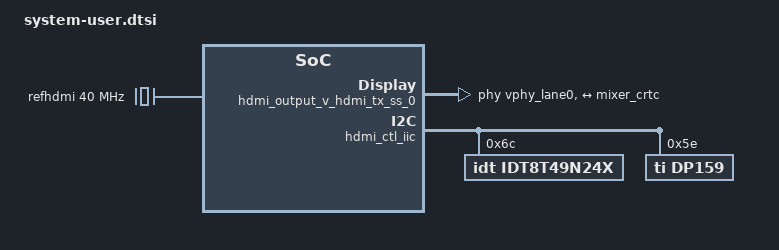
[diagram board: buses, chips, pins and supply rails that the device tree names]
/include/ "system-conf.dtsi"
/ {
	chosen {
		bootargs = "earlycon console=ttyPS0,115200 clk_ignore_unused root=/dev/mmcblk0p2 rw rootwait cma=1200M";
		stdout-path = "serial0:115200n8";
	};
};
&amba {
	axi_intc_0: axi-interrupt-ctrl {
		#interrupt-cells = <2>;
		compatible = "xlnx,axi-intc-4.1", "xlnx,xps-intc-1.00.a";
		interrupt-controller;
		reg = <0x0 0x80020000 0x0 0x1000>;
		xlnx,kind-of-intr = <0x1>;
		xlnx,num-intr-inputs = <0x20>;
		interrupt-parent = <&gic>;
		interrupts = <0 89 4>;
	};

	zyxclmm_drm {
		compatible = "xlnx,zocl";
		status = "okay";
		interrupt-parent = <&axi_intc_0>;
		interrupts = <0  4>, <1  4>, <2  4>, <3  4>,
			     <4  4>, <5  4>, <6  4>, <7  4>,
			     <8  4>, <9  4>, <10 4>, <11 4>,
			     <12 4>, <13 4>, <14 4>, <15 4>,
			     <16 4>, <17 4>, <18 4>, <19 4>,
			     <20 4>, <21 4>, <22 4>, <23 4>,
			     <24 4>, <25 4>, <26 4>, <27 4>,
			     <28 4>, <29 4>, <30 4>, <31 4>;
	};

	misc_clk_0: misc_clk_0 {
		#clock-cells = <0>;
		clock-frequency = <331896551>;
		compatible = "fixed-clock";
	};
        hdmi_output_v_hdmi_tx_ss_0: v_hdmi_tx_ss@a0100000 {
                compatible = "xlnx,v-hdmi-tx-ss-3.1";
                interrupt-parent = <&gic>;
                interrupts = <0 108 4>;
                interrupt-names = "hdmitx";
                reg = <0x0 0xa0100000 0x0 0x20000>;
                reg-names = "hdmi-txss";
                clocks = <&vid_s_axi_clk>, <&vid_stream_clk>, <&idt8t49n24x 2>, <&dp159>;
		clock-names = "s_axi_cpu_aclk", "s_axis_video_aclk", "txref-clk", "retimer-clk";
                phy-names = "hdmi-phy0", "hdmi-phy1", "hdmi-phy2";
                phys = <&vphy_lane0 0 1 1 1>, <&vphy_lane1 0 1 1 1>, <&vphy_lane2 0 1 1 1>;

                xlnx,input-pixels-per-clock = <0x2>;
                xlnx,max-bits-per-component = <0x8>;
                xlnx,vid-interface = <0>;

                ports {
                        #address-cells = <1>;
                        #size-cells = <0>;
                        encoder_hdmi_port: port@0 {
                                reg = <0>;
                                hdmi_encoder: endpoint {
                                        remote-endpoint = <&mixer_crtc>;
                                };
                        };
                };
        };

	misc_clk_1: misc_clk_1 {
		#clock-cells = <0>;
		clock-frequency = <33333333>;
		compatible = "fixed-clock";
	};

        v_mix@a0130000 {
                compatible = "xlnx,mixer-4.0";
		clock-names = "ap_clk";
		clocks = <&misc_clk_0>;
                interrupt-parent = <&gic>;
                interrupts = <0 111 4>;
                reg = <0x0 0xa0130000 0x0 0x10000>;
                reset-gpios = <&gpio 78 1>;
                xlnx,dma-addr-width=<32>;
                xlnx,bpc = <0x8>;
                /* xlnx,ppc = <0x2>; */
                xlnx,ppc = <0x1>;
                xlnx,num-layers = <0xA>;

                mixer_port: port@0 {
	            reg = <0>;
        	    mixer_crtc: endpoint {
                	remote-endpoint = <&hdmi_encoder>;
	            };
        	};

                layer_0 {
                        xlnx,layer-id = <0x0>;
                        xlnx,vformat = "AR24";
/*                        xlnx,layer-streaming;
                        dmas = <&hdmi_output_v_frmbuf_rd_0 0>;
                        dma-names = "dma0";	*/
                        xlnx,layer-max-width = <0xf00>;
                        xlnx,layer-max-height = <0x870>;
			xlnx,layer-primary;
                };
       		layer_1 {
        	        xlnx,layer-id = <0x1>;
	                xlnx,vformat = "NV12";
                        xlnx,layer-max-width = <0xf00>;
           	};
                layer_2 {
                        xlnx,layer-id = <0x2>;
                        xlnx,vformat = "NV12";
                        xlnx,layer-max-width = <0xf00>;
                };
                layer_3 {
                        xlnx,layer-id = <0x3>;
                        xlnx,vformat = "NV12";
                        xlnx,layer-max-width = <0xf00>;
                };
		layer_4 {
            		xlnx,layer-id = <0x4>;
                	xlnx,vformat = "NV12";
                        xlnx,layer-max-width = <0xf00>;
                };
                layer_5 {
                        xlnx,layer-id = <0x5>;
                        xlnx,vformat = "NV12";
                        xlnx,layer-max-width = <0xf00>;
                };
                layer_6 {
                        xlnx,layer-id = <0x6>;
                        xlnx,vformat = "NV12";
                        xlnx,layer-max-width = <0xf00>;
                };
                layer_7 {
                        xlnx,layer-id = <0x7>;
                        xlnx,vformat = "NV12";
                        xlnx,layer-max-width = <0xf00>;
                };
                layer_8 {
                        xlnx,layer-id = <0x8>;
                        xlnx,vformat = "NV12";
                        xlnx,layer-max-width = <0xf00>;
                };
                layer_9 {
                        xlnx,layer-id = <0x9>;
                        xlnx,vformat = "NV12";
                        xlnx,layer-max-width = <0xf00>;
                };
                xv_mix_logo: logo {
                                xlnx,layer-id = <10>;
                                xlnx,logo-height = <256>;
                                xlnx,logo-width = <256>;
                                /* xlnx,logo-pixel-alpha; */
                };

        };
	refhdmi: refhdmi {
		compatible = "fixed-clock";
		#clock-cells = <0>;
		clock-frequency = <40000000>;
	};
        hdmi_ctl_iic: i2c@a0120000 {
                #address-cells = <1>;
                #size-cells = <0>;
                status = "okay";
                compatible = "xlnx,xps-iic-2.00.a";
                interrupt-parent = <&gic>;
                interrupts = <0 109 4>;
                reg = <0x0 0xa0120000 0x0 0x1000>;
                clocks = <&vid_s_axi_clk>;
		clock-names = "s_axi_aclk";
		/* idt8t49n241 i2c clock generator */
		idt8t49n24x: clock-generator@6c {
			status = "okay";
			compatible = "idt,idt8t49n24x";
			#clock-cells = <1>;
			reg = <0x6c>;

			/* input clock(s); the XTAL is hard-wired on the ZCU104 board */
			clocks = <&refhdmi>;
			clock-names = "input-xtal";

			settings = [
				09 50 00 60 67 c5 6c 01 03 00 31 00 01 40 00 01 40 00 74 04 00 74 04 77 6d 00 00 00 00 00 00 ff
				ff ff ff 01 3f 00 2e 00 0d 00 00 00 01 00 00 d0 08 00 00 00 00 00 08 00 00 00 00 00 00 44 44 00
				00 00 00 00 00 00 00 00 00 00 00 00 00 00 00 00 00 00 00 00 00 00 00 00 00 00 00 00 00 00 00 00
				00 00 00 00 00 00 00 00 e9 0a 2b 20 00 00 00 0f 00 00 00 0e 00 00 0e 00 00 00 27 00 00 00 00 00
				00 00 00 00 00 00 00 00 00 00 00 00 00 00 00 00 00 00 00 00 00 00 00 00 00 00 00 00 00 00 00 00
				00 00 00 00 00 00 00 00 00 00 00 00 00 00 00 00 00 00 00 00 00 00 00 00 00 00 00 00 00 00 00 00
				00 00 00 00 00 00 00 00 00 00 00 00 00 00 00 00 00 00 00 00 00 00 00 00 00 00 00 00 00 00 00 00
				00 00 00 00 00 00 00 00 00 00 00 00 00 00 00 00 00 00 00 00 00 00 00 00 00 00 00 00 00 00 00 00
				00 00 00 00 00 00 00 00 00 00 00 00 00 00 00 00 00 00 00 00 00 00 00 00 00 00 00 00 00 00 00 00
				00 00 00 00 00 00 00 00 00 00 00 00 00 00 00 00 00 00 00 00 00 00 00 00 00 00 00 00 00 00 00 00
				00 00 00 00 00 00 00 00 00 00 00 00 00 00 00 00 00 00 00 00 00 00 00 00 00 00 00 00 00 00 00 00
				00 00 00 00 00 00 00 00 00 00 00 00 00 00 00 00 00 00 00 00 00 00 00 00 00 00 00 00 00 00 00 00
				00 00 00 00 00 00 00 00 00 00 00 00 00 00 00 00 00 00 00 00 00 00 00 00 00 00 00 00 00 00 00 00
				00 00 00 00 00 00 00 00 00 00 00 00 00 00 00 00 00 00 00 00 00 00 00 00 00 00 00 00 00 00 00 00
				00 00 00 00 00 00 00 00 00 00 00 00 00 00 00 00 00 00 00 00 00 00 00 00 00 00 00 00 00 00 00 00
				00 00 00 00 00 00 00 00 00 00 00 00 00 00 00 00 00 00 00 00 00 00 00 00 00 00 00 00 00 00 00 00
				e3 00 08 01 00 00 00 00 00 00 00 00 00 b0 00 00 00 0a 00 00 00 00 00 00 00 00 00 00 00 00 00 00
				00 00 00 00 00 00 00 00 00 00 00 00 00 00 00 00 00 00 00 00 00 00 00 00 00 00 00 00 00 00 00 00
				00 00 00 00 00 00 00 00 00 00 00 00 00 00 00 00 00 00 00 00 00 00 00 00 00 00 00 00 00 00 00 00
				00 00 00 00 00 00 00 00 00 00 00 00 00 00 00 00 00 00 00 00 00 00 00 00 00 00 00 00 00 00 00 00
				00 00 00 00 00 00 00 00 00 00 00 00 00 00 00 00 00 00 00 00 00 00 00 00 00 00 00 00 00 00 00 00
				00 00 00 00 00 00 00 00 00 00 00 00 00 00 00 00 00 00 00 00 00 00 00 00 00 00 00 00 00 00 00 00
				00 00 00 00 00 00 00 00 00 00 00 00 00 00 00 00 00 00 00 00 00 00 00 00 00 00 00 00 00 00 00 00
				00 00 00 00 00 00 00 00 00 00 00 00 00 00 00 00 00 00 00 00 00 00 00 00 00 00 00 00 00 00 00 00
				00 00 00 00 85 00 00 9c 01 d4 02 71 07 00 00 00 00 83 00 10 02 08 8c
				];
		};
                /* DP159 exposes a virtual CCF clock. Upon .set_rate(), it adapts its retiming/driving behaviour */
                dp159: hdmi-retimer@5e {
                        status = "okay";
                        compatible = "ti,dp159";
                        reg = <0x5e>;
                        #address-cells = <1>;
                        #size-cells = <0>;
                        #clock-cells = <0>;
                };
        };
	psu_ctrl_ipi: PERIPHERAL@ff380000 {
		compatible = "xlnx,PERIPHERAL-1.0";
		reg = <0x0 0xff380000 0x0 0x80000>;
	};
	psu_message_buffers: PERIPHERAL@ff990000 {
		compatible = "xlnx,PERIPHERAL-1.0";
		reg = <0x0 0xff990000 0x0 0x10000>;
	};
	vcu_0: vcu@a0000000 {
		#clock-cells = <1>;
		#address-cells = <2>;
		#size-cells = <2>;
		clock-names = "pll_ref", "aclk", "vcu_core_enc", "vcu_mcu_enc", "vcu_core_dec", "vcu_mcu_dec";
		clocks = <&misc_clk_1>, <&zynqmp_clk 71>, <&vcu_0 0>, <&vcu_0 1>, <&vcu_0 2>, <&vcu_0 3>;
		compatible = "xlnx,vcu-1.2", "xlnx,vcu";
		interrupt-names = "vcu_host_interrupt";
		interrupt-parent = <&gic>;
		interrupts = <0 104 4>;
		ranges ;
		reg = <0x0 0xa0040000 0x0 0x1000>,
			<0x0 0xa0041000 0x0 0x1000>;
		reg-names = "vcu_slcr", "logicore";
/*
		encoder: al5e@a0100000 {
			compatible = "al,al5e-1.1", "al,al5e";
			interrupt-parent = <&gic>;
			interrupts = <0 96 4>;
			reg = <0x0 0xa0100000 0x0 0x10000>;
		};
*/
		decoder: al5d@a0020000 {
			compatible = "al,al5d-1.1", "al,al5d";
			interrupt-parent = <&gic>;
			interrupts = <0 104 4>;
			reg = <0x0 0xa0020000 0x0 0x10000>;
		};
	};
        vid_stream_clk: vid_stream_clk {
                compatible = "fixed-clock";
                #clock-cells = <0>;
                clock-frequency = <300000000>;
        };

        vid_s_axi_clk: vid_s_axi_clk {
                compatible = "fixed-clock";
                #clock-cells = <0>;
                clock-frequency = <99990000>;
        };

	hdmi_dru_clk: clock-generator-hdmi-dru-clk {
		compatible = "fixed-clock";
		#clock-cells = <0>;
		clock-frequency = <156250000>;
	};
        vid_phy_controller: vid_phy_controller@a0140000 {
                compatible = "xlnx,vid-phy-controller-2.2";
                interrupt-parent = <&gic>;
                interrupts = <0 107 4>;
                reg = <0x0 0xa0140000 0x0 0x10000>;
                clocks = <&vid_s_axi_clk>, <&hdmi_dru_clk>;
		clock-names = "vid_phy_axi4lite_aclk", "dru-clk";

                xlnx,input-pixels-per-clock = <0x2>;
                xlnx,nidru = <0x1>;
                xlnx,nidru-refclk-sel = <0x5>;
                xlnx,rx-no-of-channels = <0x3>;
                xlnx,rx-pll-selection = <0x0>;
                xlnx,rx-protocol = <0x1>;
                xlnx,rx-refclk-sel = <0x1>;
                xlnx,tx-no-of-channels = <0x3>;
                xlnx,tx-pll-selection = <0x6>;
                xlnx,tx-protocol = <0x1>;
                xlnx,tx-refclk-sel = <0x0>;
                xlnx,hdmi-fast-switch = <0x1>;
                xlnx,transceiver-type = <0x5>;
                xlnx,tx-buffer-bypass = <0x1>;
                xlnx,transceiver-width = <0x2>;
		xlnx,use-gt-ch4-hdmi = <0>;

                vphy_lane0: vphy_lane@0 {
                        #phy-cells = <4>;
                };
                vphy_lane1: vphy_lane@1 {
                        #phy-cells = <4>;
                };
                vphy_lane2: vphy_lane@2 {
                        #phy-cells = <4>;
                };
                vphy_lane3: vphy_lane@3 {
                        #phy-cells = <4>;
                };
        };
};
